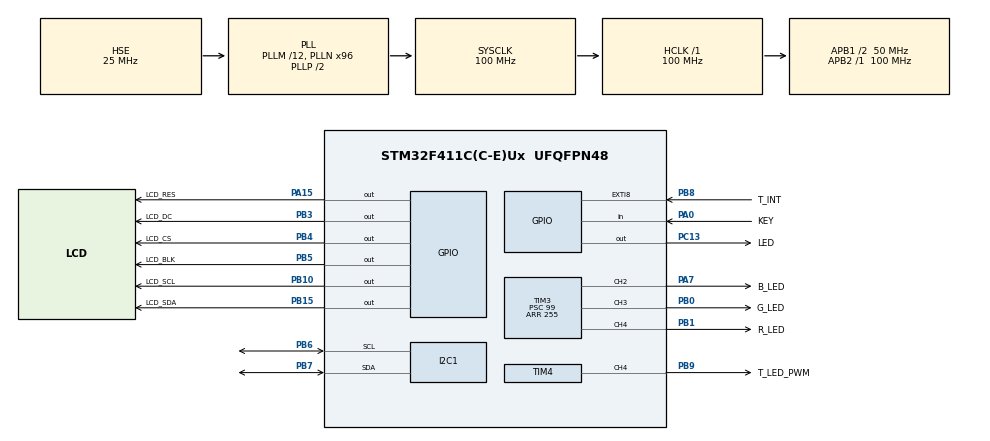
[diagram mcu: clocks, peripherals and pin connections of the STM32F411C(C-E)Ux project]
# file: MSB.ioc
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I2C1.I2C_Mode=I2C_Fast
Mcu.Family=STM32F4
Mcu.Name=STM32F411C(C-E)Ux
Mcu.Package=UFQFPN48
NVIC.EXTI9_5_IRQn=true\:0\:0\:false\:false\:true\:true\:true\:true
NVIC.PriorityGroup=NVIC_PRIORITYGROUP_4
NVIC.TIM2_IRQn=true\:0\:0\:false\:false\:true\:true\:true\:true
PA0-WKUP.GPIO_Label=KEY
PA0-WKUP.GPIO_PuPd=GPIO_PULLUP
PA0-WKUP.Signal=GPIO_Input
PA13.Mode=Serial_Wire
PA13.Signal=SYS_JTMS-SWDIO
PA14.Mode=Serial_Wire
PA14.Signal=SYS_JTCK-SWCLK
PA15.GPIO_Label=LCD_RES
PA15.GPIO_PuPd=GPIO_PULLDOWN
PA15.GPIO_Speed=GPIO_SPEED_FREQ_VERY_HIGH
PA15.Signal=GPIO_Output
PA7.GPIO_Label=B_LED
PA7.GPIO_Speed=GPIO_SPEED_FREQ_VERY_HIGH
PA7.Signal=S_TIM3_CH2
PB0.GPIO_Label=G_LED
PB0.GPIO_Speed=GPIO_SPEED_FREQ_VERY_HIGH
PB0.Signal=S_TIM3_CH3
PB1.GPIO_Label=R_LED
PB1.GPIO_Speed=GPIO_SPEED_FREQ_VERY_HIGH
PB1.Signal=S_TIM3_CH4
PB10.GPIO_Label=LCD_SCL
PB10.GPIO_PuPd=GPIO_PULLDOWN
PB10.GPIO_Speed=GPIO_SPEED_FREQ_VERY_HIGH
PB10.Signal=GPIO_Output
PB15.GPIO_Label=LCD_SDA
PB15.GPIO_PuPd=GPIO_PULLDOWN
PB15.GPIO_Speed=GPIO_SPEED_FREQ_VERY_HIGH
PB15.Signal=GPIO_Output
PB3.GPIO_Label=LCD_DC
PB3.GPIO_PuPd=GPIO_PULLDOWN
PB3.GPIO_Speed=GPIO_SPEED_FREQ_VERY_HIGH
PB3.Signal=GPIO_Output
PB4.GPIO_Label=LCD_CS
PB4.GPIO_PuPd=GPIO_PULLDOWN
PB4.GPIO_Speed=GPIO_SPEED_FREQ_VERY_HIGH
PB4.Signal=GPIO_Output
PB5.GPIO_Label=LCD_BLK
PB5.GPIO_PuPd=GPIO_PULLDOWN
PB5.GPIO_Speed=GPIO_SPEED_FREQ_VERY_HIGH
PB5.Signal=GPIO_Output
PB6.Mode=I2C
PB6.Signal=I2C1_SCL
PB7.Mode=I2C
PB7.Signal=I2C1_SDA
PB8.GPIO_Label=T_INT
PB8.GPIO_ModeDefaultEXTI=GPIO_MODE_IT_FALLING
PB8.GPIO_PuPd=GPIO_PULLUP
PB8.Signal=GPXTI8
PB9.GPIO_Label=T_LED_PWM
PB9.GPIO_Speed=GPIO_SPEED_FREQ_VERY_HIGH
PB9.Signal=S_TIM4_CH4
PC13-ANTI_TAMP.GPIO_Label=LED
PC13-ANTI_TAMP.Signal=GPIO_Output
PH0\ -\ OSC_IN.Mode=HSE-External-Oscillator
PH0\ -\ OSC_IN.Signal=RCC_OSC_IN
PH1\ -\ OSC_OUT.Mode=HSE-External-Oscillator
PH1\ -\ OSC_OUT.Signal=RCC_OSC_OUT
ProjectManager.HeapSize=0x200
ProjectManager.StackSize=0x400
ProjectManager.TargetToolchain=MDK-ARM V5.32
RCC.48MHZClocksFreq_Value=50000000
RCC.AHBFreq_Value=100000000
RCC.APB1CLKDivider=RCC_HCLK_DIV2
RCC.APB1Freq_Value=50000000
RCC.APB1TimFreq_Value=100000000
RCC.APB2Freq_Value=100000000
RCC.APB2TimFreq_Value=100000000
RCC.CortexFreq_Value=100000000
RCC.HCLKFreq_Value=100000000
RCC.HSE_VALUE=25000000
RCC.HSI_VALUE=16000000
RCC.LSE_VALUE=32768
RCC.PLLM=12
RCC.PLLN=96
RCC.PLLSourceVirtual=RCC_PLLSOURCE_HSE
RCC.SYSCLKFreq_VALUE=100000000
RCC.SYSCLKSource=RCC_SYSCLKSOURCE_PLLCLK
RCC.VCOOutputFreq_Value=200000000
SH.S_TIM3_CH2.0=TIM3_CH2,PWM Generation2 CH2
SH.S_TIM3_CH3.0=TIM3_CH3,PWM Generation3 CH3
SH.S_TIM3_CH4.0=TIM3_CH4,PWM Generation4 CH4
SH.S_TIM4_CH4.0=TIM4_CH4,PWM Generation4 CH4
TIM2.Period=99
TIM2.Prescaler=99
TIM3.Channel-PWM\ Generation2\ CH2=TIM_CHANNEL_2
TIM3.Channel-PWM\ Generation3\ CH3=TIM_CHANNEL_3
TIM3.Channel-PWM\ Generation4\ CH4=TIM_CHANNEL_4
TIM3.Period=255
TIM3.Prescaler=99
TIM4.Channel-PWM\ Generation4\ CH4=TIM_CHANNEL_4
TIM4.Period=9
TIM4.Prescaler=99
VP_TIM2_VS_ClockSourceINT.Mode=Internal
board=custom

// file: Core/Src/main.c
/* USER CODE BEGIN Header */
/**
 ******************************************************************************
 * @file           : main.c
 * @brief          : Main program body
 ******************************************************************************
 * @attention
 *
 * Copyright (c) 2022 STMicroelectronics.
 * All rights reserved.
 *
 * This software is licensed under terms that can be found in the LICENSE file
 * in the root directory of this software component.
 * If no LICENSE file comes with this software, it is provided AS-IS.
 *
 ******************************************************************************
 */
/* USER CODE END Header */
#include "main.h"
#include "i2c.h"
#include "tim.h"
#include "gpio.h"

/* USER CODE BEGIN Includes */
#include "stdio.h"
#include "ST7735_096.c"
#include "TCS3472.c"
#include "math.h"
#include "pic.h"
#include "HUAJI.h"
#include "OK.h"
/* USER CODE END Includes */

void SystemClock_Config(void);

/* USER CODE BEGIN 0 */
//全局变量声明
uint32_t timcount = 0;
uint8_t mem[3000];
uint16_t mem_i = 0;
uint16_t remember_i = 0;

// rgb led灯pwm输出
void rgb(uint16_t r00, uint16_t g00, uint16_t b00)
{
  __HAL_TIM_SET_COMPARE(&htim3, TIM_CHANNEL_2, b00 * 0.8);
  __HAL_TIM_SET_COMPARE(&htim3, TIM_CHANNEL_3, g00 * 0.9);
  __HAL_TIM_SET_COMPARE(&htim3, TIM_CHANNEL_4, r00);
}

// 24bit rgb数据转16bit
uint16_t rgb16(uint8_t r00, uint8_t g00, uint8_t b00)
{
  r00 >>= 3;
  g00 >>= 2;
  b00 >>= 3;
  return ((r00 << 11) | (g00 << 5) | b00);
}

// TCS LED亮度pwm输出
void T_LED_OUTPUT(uint8_t T_LED_LEVEL)
{
  __HAL_TIM_SET_COMPARE(&htim4, TIM_CHANNEL_4, T_LED_LEVEL);
}

//记录
void MEM(uint8_t r, uint8_t g, uint8_t b)
{
  mem[mem_i] = r;
  mem[mem_i + 1] = g;
  mem[mem_i + 2] = b;
  mem_i += 3;
}

//单次手动测量
void color0()
{
  uint32_t color0r = 0, color0g = 0, color0b = 0, color0c = 0; //各通道颜色初始化
  float getcount;                                              //计时终数值
  timcount = 0;                                                //计时溢出计数归零，开始计时
  for (int i = 0; i <= 3; i++)
  {
    color0r += TCS34725_GetChannelData(TCS34725_RDATAL);
    color0g += TCS34725_GetChannelData(TCS34725_GDATAL);
    color0b += TCS34725_GetChannelData(TCS34725_BDATAL);
    color0c += TCS34725_GetChannelData(TCS34725_CDATAL);
  } //读取4次各通道数据并求平均
  color0r = color0r / 3.1;
  color0g = color0g / 4.85;
  color0b = color0b / 4;
  float color1r = color0r, color1g = color0g, color1b = color0b, i = 0;
  while (color1r >= 255 || color1g >= 255 || color1b >= 255)
  {
    color1r = color0r / i;
    color1g = color0g / i;
    color1b = color0b / i;
    i += 0.01;
  }
  color0b = color1b;
  color0r = color1r;
  color0g = color1g;
  getcount = (float)timcount / 10.0;                        //计算用时，每0.1ms溢出一次
  rgb(color0r, color0g, color0b);                           // rgb灯输出
  LCD_Fill(0, 0, 60, 80, rgb16(color0r, color0g, color0b)); // lcd屏输出开始
  LCD_Fill(60, 0, 160, 80, WHITE);
  char STR0[5];
  sprintf(STR0, "R=%d", color0r);
  LCD_ShowString(61, 0, STR0, BLACK, BLACK, 16, 1);
  sprintf(STR0, "G=%d", color0g);
  LCD_ShowString(61, 16, STR0, BLACK, BLACK, 16, 1);
  sprintf(STR0, "B=%d", color0b);
  LCD_ShowString(61, 32, STR0, BLACK, BLACK, 16, 1);
  sprintf(STR0, "C=%d", color0c / 4);
  LCD_ShowString(61, 48, STR0, BLACK, BLACK, 16, 1);
  char STR1[20];
  sprintf(STR1, "COST=%.1fms", getcount);
  LCD_ShowString(61, 64, STR1, BLACK, BLACK, 16, 1); // lcd屏输出结束
  MEM(color0r, color0g, color0b);
  if (abs(color0r - mem[remember_i - 3]) < 50 && abs(color0g - mem[remember_i - 2]) < 50 && abs(color0b - mem[remember_i - 1]) < 50 && fabs(color0r / color0g - mem[remember_i - 3] / mem[remember_i - 2]) < 0.1 && fabs(color0r / color0b - mem[remember_i - 3] / mem[remember_i - 1]) < 0.1)
  {
    LCD_Fill(0, 0, 60, 40, rgb16(mem[remember_i - 3], mem[remember_i - 2], mem[remember_i - 1]));
    LCD_ShowString(0, 8, "SAME!", rgb16(255 - mem[remember_i - 3], 255 - mem[remember_i - 2], 255 - mem[remember_i - 1]), BLACK, 24, 1);
    LCD_DrawLine(0, 40, 59, 40, BLACK);
    LCD_DrawLine(60, 0, 59, 80, BLACK);
    LCD_ShowPicture(100, 20, 60, 29, gImage_HUAJI);
  }
}

//自动单次测量（高亮度）
uint8_t color1()
{
  if (HAL_GPIO_ReadPin(KEY_GPIO_Port, KEY_Pin) == GPIO_PIN_RESET)
  {
    HAL_Delay(1);
    if (HAL_GPIO_ReadPin(KEY_GPIO_Port, KEY_Pin) == GPIO_PIN_RESET)
    {
      return 0;
    }
  }
  while (1)
  {
    if (TCS34725_GetChannelData(TCS34725_CDATAL) >= 350)
    {
      float getcount; //计时终数值
      timcount = 0;   //计时溢出计数归零，开始计时
      uint8_t i = 9;
      TCS34725_SetIntegrationTime(TCS34725_INTEGRATIONTIME_24MS);
      HAL_Delay(25);
      while (TCS34725_GetChannelData(TCS34725_CDATAL) >= 300 && i >= 1)
      {
        T_LED_OUTPUT(i);
        HAL_Delay(25);
        i--;
      }
      TCS34725_SetIntegrationTime(TCS34725_INTEGRATIONTIME_101MS);
      HAL_Delay(110);
      uint32_t color0r = 0, color0g = 0, color0b = 0, color0c = 0; //各通道数据
      for (int i = 0; i <= 3; i++)
      {
        color0r += TCS34725_GetChannelData(TCS34725_RDATAL);
        color0g += TCS34725_GetChannelData(TCS34725_GDATAL);
        color0b += TCS34725_GetChannelData(TCS34725_BDATAL);
        color0c += TCS34725_GetChannelData(TCS34725_CDATAL);
      } //读取4次各通道数据并求平均
      color0r = color0r / 2.4;
      color0g = color0g / 3.78;
      color0b = color0b / 3.15;                                              //调色
      float color1r = color0r, color1g = color0g, color1b = color0b, i1 = 0; // i1用于计数
      while (color1r >= 255 || color1g >= 255 || color1b >= 255)
      {
        color1r = color0r / i1;
        color1g = color0g / i1;
        color1b = color0b / i1;
        i1 += 0.01;
      } //防止溢出

      color0b = color1b;
      color0r = color1r;
      color0g = color1g;

      getcount = (float)timcount / 10.0;                        //计算用时，0.1ms溢出一次
      rgb(color0r, color0g, color0b);                           // rgb灯输出
      LCD_Fill(0, 0, 60, 80, rgb16(color0r, color0g, color0b)); // lcd屏输出开始
      LCD_Fill(60, 0, 160, 80, WHITE);
      char STR0[5];
      sprintf(STR0, "R=%d", color0r);
      LCD_ShowString(61, 0, STR0, BLACK, BLACK, 16, 1);
      sprintf(STR0, "G=%d", color0g);
      LCD_ShowString(61, 16, STR0, BLACK, BLACK, 16, 1);
      sprintf(STR0, "B=%d", color0b);
      LCD_ShowString(61, 32, STR0, BLACK, BLACK, 16, 1);
      sprintf(STR0, "C=%d", color0c / 4);
      LCD_ShowString(61, 48, STR0, BLACK, BLACK, 16, 1);
      char STR1[20];
      sprintf(STR1, "COST=%.1fms", getcount);
      LCD_ShowString(61, 64, STR1, BLACK, BLACK, 16, 1); // lcd屏输出
      MEM(color0r, color0g, color0b);
      T_LED_OUTPUT(9);
      if (abs(color0r - mem[remember_i - 3]) < 50 && abs(color0g - mem[remember_i - 2]) < 50 && abs(color0b - mem[remember_i - 1]) < 50 && fabs(color0r / color0g - mem[remember_i - 3] / mem[remember_i - 2]) < 0.1 && fabs(color0r / color0b - mem[remember_i - 3] / mem[remember_i - 1]) < 0.1)
      {
        LCD_Fill(0, 0, 60, 40, rgb16(mem[remember_i - 3], mem[remember_i - 2], mem[remember_i - 1]));
        LCD_ShowString(0, 8, "SAME!", rgb16(255 - mem[remember_i - 3], 255 - mem[remember_i - 2], 255 - mem[remember_i - 1]), BLACK, 24, 1);
        LCD_DrawLine(0, 40, 59, 40, BLACK);
        LCD_DrawLine(60, 0, 59, 80, BLACK);
        LCD_ShowPicture(100, 20, 60, 29, gImage_HUAJI);
      }
      while (TCS34725_GetChannelData(TCS34725_CDATAL) >= 300)
      {
        if (HAL_GPIO_ReadPin(KEY_GPIO_Port, KEY_Pin) == GPIO_PIN_RESET)
        {
          HAL_Delay(1);
          if (HAL_GPIO_ReadPin(KEY_GPIO_Port, KEY_Pin) == GPIO_PIN_RESET)
          {
            return 0;
          }
        }
      }
    }
    if (HAL_GPIO_ReadPin(KEY_GPIO_Port, KEY_Pin) == GPIO_PIN_RESET)
    {
      HAL_Delay(1);
      if (HAL_GPIO_ReadPin(KEY_GPIO_Port, KEY_Pin) == GPIO_PIN_RESET)
      {
        return 0;
      }
    }
  }
}

//显示历史
void HISTORY()
{
  if (HAL_GPIO_ReadPin(KEY_GPIO_Port, KEY_Pin) == GPIO_PIN_RESET)
  {
    HAL_Delay(1);
    if (HAL_GPIO_ReadPin(KEY_GPIO_Port, KEY_Pin) == GPIO_PIN_RESET)
    {
      return;
    }
  }
  uint16_t i = 0, pmax = ceil((double)mem_i / 18.0 - 0.01), p = 1;
  int16_t j = mem_i - 1;
  char rgbstr[13], rcdstr[15];
  sprintf(rcdstr, "%d", mem_i / 3);
  while (p <= pmax)
  {
    char pgstr[10];
    sprintf(pgstr, "%d/%d", p, pmax);
    LCD_Fill(0, 0, 160, 80, BLACK);
    LCD_ShowString(120, 5, rcdstr, WHITE, BLACK, 16, 1);
    LCD_ShowString(105, 25, "records", WHITE, BLACK, 16, 1);
    LCD_ShowString(115, 50, pgstr, WHITE, BLACK, 24, 1);
    while (i <= 17 && j >= 2)
    {
      sprintf(rgbstr, "(%3d,%3d,%3d)", mem[j - 2], mem[j - 1], mem[j]);
      LCD_ShowString(0, 16 * i / 3, rgbstr, rgb16(255 - mem[j - 2], 255 - mem[j - 1], 255 - mem[j]), rgb16(mem[j - 2], mem[j - 1], mem[j]), 16, 0);
      i += 3;
      j -= 3;
    }
    i = 0;
    p++;
    HAL_Delay(100);
    while (HAL_GPIO_ReadPin(KEY_GPIO_Port, KEY_Pin) == GPIO_PIN_SET)
      ;
  }
  HAL_Delay(500);
  while (HAL_GPIO_ReadPin(KEY_GPIO_Port, KEY_Pin) == GPIO_PIN_SET)
    HAL_Delay(1);
  while (HAL_GPIO_ReadPin(KEY_GPIO_Port, KEY_Pin) == GPIO_PIN_RESET)
    HAL_Delay(1);
}

//计时器计时中断
void HAL_TIM_PeriodElapsedCallback(TIM_HandleTypeDef *htim)
{
  timcount++;
}

//标记一种颜色
void mark()
{
  uint32_t color0r = 0, color0g = 0, color0b = 0, color0c = 0; //各通道颜色变量初始化
  float getcount;                                              //计时终数值
  timcount = 0;                                                //计时溢出计数归零，开始计时
  for (int i = 0; i <= 3; i++)
  {
    color0r += TCS34725_GetChannelData(TCS34725_RDATAL);
    color0g += TCS34725_GetChannelData(TCS34725_GDATAL);
    color0b += TCS34725_GetChannelData(TCS34725_BDATAL);
    color0c += TCS34725_GetChannelData(TCS34725_CDATAL);
  } //读取4次各通道数据并求平均
  color0r = color0r / 3.1;
  color0g = color0g / 4.85;
  color0b = color0b / 4;
  float color1r = color0r, color1g = color0g, color1b = color0b, i = 0;
  while (color1r >= 255 || color1g >= 255 || color1b >= 255)
  {
    color1r = color0r / i;
    color1g = color0g / i;
    color1b = color0b / i;
    i += 0.01;
  }
  color0b = color1b;
  color0r = color1r;
  color0g = color1g;
  getcount = (float)timcount / 10.0;
  MEM(color0r, color0g, color0b);
  remember_i = mem_i;
  LCD_Fill(0, 0, 160, 80, WHITE);
  LCD_Fill(0, 0, 60, 80, rgb16(mem[mem_i - 3], mem[mem_i - 2], mem[mem_i - 1]));
  LCD_ShowString(61, 0, "MARKED", BLACK, BLACK, 16, 1);
  char STR0[5];
  sprintf(STR0, "R=%d", color0r);
  LCD_ShowString(61, 16, STR0, BLACK, BLACK, 16, 1);
  sprintf(STR0, "G=%d", color0g);
  LCD_ShowString(61, 32, STR0, BLACK, BLACK, 16, 1);
  sprintf(STR0, "B=%d", color0b);
  LCD_ShowString(61, 48, STR0, BLACK, BLACK, 16, 1);
  char STR1[20];
  sprintf(STR1, "%.1fms", getcount);
  LCD_ShowString(61, 64, STR1, BLACK, BLACK, 16, 1); // lcd屏输出
  LCD_ShowPicture(102, 16, 58, 58, gImage_OK);
  HAL_Delay(500);
  while (HAL_GPIO_ReadPin(KEY_GPIO_Port, KEY_Pin) == GPIO_PIN_RESET)
    HAL_Delay(1);
  while (HAL_GPIO_ReadPin(KEY_GPIO_Port, KEY_Pin) == GPIO_PIN_SET)
    HAL_Delay(1);
  while (HAL_GPIO_ReadPin(KEY_GPIO_Port, KEY_Pin) == GPIO_PIN_RESET)
    HAL_Delay(1);
}

/* USER CODE END 0 */

int main(void)
{

  /* MCU Configuration--------------------------------------------------------*/

  /* Reset of all peripherals, Initializes the Flash interface and the Systick. */
  HAL_Init();

  /* Configure the system clock */
  SystemClock_Config();

  /* Initialize all configured peripherals */
  MX_GPIO_Init();
  MX_I2C1_Init();
  MX_TIM3_Init();
  MX_TIM4_Init();
  MX_TIM2_Init();
  /* USER CODE BEGIN 2 */

  // INIT_START
  HAL_TIM_Base_Start_IT(&htim2);
  //  pwm
  HAL_TIM_PWM_Start(&htim3, TIM_CHANNEL_2); // b LED pwm START
  HAL_TIM_PWM_Start(&htim3, TIM_CHANNEL_3); // g LED pwm START
  HAL_TIM_PWM_Start(&htim3, TIM_CHANNEL_4); // r LED pwm START
  HAL_TIM_PWM_Start(&htim4, TIM_CHANNEL_4); // TCS_LED pwm START

  // lcd初始化
  HAL_GPIO_WritePin(LED_GPIO_Port, LED_Pin, GPIO_PIN_RESET);
  HAL_GPIO_WritePin(LCD_CS_GPIO_Port, LCD_CS_Pin, GPIO_PIN_RESET);
  HAL_GPIO_WritePin(LCD_BLK_GPIO_Port, LCD_BLK_Pin, GPIO_PIN_SET);
  LCD_Init();

  // rgb测试
  rgb(0, 0, 0);
  HAL_GPIO_TogglePin(LED_GPIO_Port, LED_Pin);
  HAL_Delay(50);
  rgb(255, 0, 0);
  HAL_GPIO_TogglePin(LED_GPIO_Port, LED_Pin);
  HAL_Delay(50);
  rgb(0, 255, 0);
  HAL_GPIO_TogglePin(LED_GPIO_Port, LED_Pin);
  HAL_Delay(50);
  rgb(0, 0, 255);
  HAL_GPIO_TogglePin(LED_GPIO_Port, LED_Pin);
  HAL_Delay(50);
  if (TCS34725_Init() == 0)
  {
    rgb(255, 0, 0);
    LCD_Fill(0, 0, 160, 80, RED);
    LCD_ShowString(40, 16, "E TCS", BLACK, WHITE, 32, 1);
    while (1)
      ;
  }
  for (int i = 0; i <= 9; i++)
    T_LED_OUTPUT(i);

  rgb(0, 0, 0);
  T_LED_OUTPUT(9);

  LCD_Fill(0, 0, 160, 80, WHITE);
  LCD_ShowPicture(40, 0, 80, 80, gImage_pic); //初始化结束

  /* USER CODE END 2 */

  /* Infinite loop */
  /* USER CODE BEGIN WHILE */
  while (1)
  {
    if (timcount >= 10000000)
      timcount = 0;
    if (HAL_GPIO_ReadPin(KEY_GPIO_Port, KEY_Pin) == GPIO_PIN_RESET)
    {
      HAL_Delay(1);
      if (HAL_GPIO_ReadPin(KEY_GPIO_Port, KEY_Pin) == GPIO_PIN_RESET)
      {
        color0();
        HAL_Delay(500);
        if (HAL_GPIO_ReadPin(KEY_GPIO_Port, KEY_Pin) == GPIO_PIN_RESET)
        {
          HAL_Delay(1);
          if (HAL_GPIO_ReadPin(KEY_GPIO_Port, KEY_Pin) == GPIO_PIN_RESET)
          {
            LCD_Fill(0, 0, 160, 80, LIGHTBLUE);
            LCD_ShowString(45, 24, "AUTO", WHITE, WHITE, 32, 1);
            HAL_Delay(500);
            color1();
            HAL_Delay(500);
            if (HAL_GPIO_ReadPin(KEY_GPIO_Port, KEY_Pin) == GPIO_PIN_RESET)
            {
              HAL_Delay(1);
              if (HAL_GPIO_ReadPin(KEY_GPIO_Port, KEY_Pin) == GPIO_PIN_RESET)
              {
                LCD_Fill(0, 0, 160, 80, LIGHTBLUE);
                LCD_ShowString(25, 24, "HISTORY", WHITE, WHITE, 32, 1);
                HAL_Delay(500);
                HISTORY();
                HAL_Delay(500);
                if (HAL_GPIO_ReadPin(KEY_GPIO_Port, KEY_Pin) == GPIO_PIN_RESET)
                {
                  HAL_Delay(1);
                  if (HAL_GPIO_ReadPin(KEY_GPIO_Port, KEY_Pin) == GPIO_PIN_RESET)
                  {
                    LCD_Fill(0, 0, 160, 80, LIGHTBLUE);
                    LCD_ShowString(45, 24, "MARK", WHITE, WHITE, 32, 1);
                    HAL_Delay(500);
                    mark();
                    LCD_Fill(0, 0, 160, 80, LIGHTBLUE);
                    LCD_ShowString(30, 24, "MANUAL", WHITE, WHITE, 32, 1);
                  }
                }
                LCD_Fill(0, 0, 160, 80, LIGHTBLUE);
                LCD_ShowString(30, 24, "MANUAL", WHITE, WHITE, 32, 1);
              }
            }
            LCD_Fill(0, 0, 160, 80, LIGHTBLUE);
            LCD_ShowString(30, 24, "MANUAL", WHITE, WHITE, 32, 1);
          }
        }
      }
    }
    /* USER CODE END WHILE */

  }
}

void SystemClock_Config(void)
{
  RCC_OscInitTypeDef RCC_OscInitStruct = {0};
  RCC_ClkInitTypeDef RCC_ClkInitStruct = {0};

  /** Configure the main internal regulator output voltage
   */
  __HAL_RCC_PWR_CLK_ENABLE();
  __HAL_PWR_VOLTAGESCALING_CONFIG(PWR_REGULATOR_VOLTAGE_SCALE1);

  /** Initializes the RCC Oscillators according to the specified parameters
   * in the RCC_OscInitTypeDef structure.
   */
  RCC_OscInitStruct.OscillatorType = RCC_OSCILLATORTYPE_HSE;
  RCC_OscInitStruct.HSEState = RCC_HSE_ON;
  RCC_OscInitStruct.PLL.PLLState = RCC_PLL_ON;
  RCC_OscInitStruct.PLL.PLLSource = RCC_PLLSOURCE_HSE;
  RCC_OscInitStruct.PLL.PLLM = 12;
  RCC_OscInitStruct.PLL.PLLN = 96;
  RCC_OscInitStruct.PLL.PLLP = RCC_PLLP_DIV2;
  RCC_OscInitStruct.PLL.PLLQ = 4;
  if (HAL_RCC_OscConfig(&RCC_OscInitStruct) != HAL_OK)
  {
    Error_Handler();
  }

  /** Initializes the CPU, AHB and APB buses clocks
   */
  RCC_ClkInitStruct.ClockType = RCC_CLOCKTYPE_HCLK | RCC_CLOCKTYPE_SYSCLK | RCC_CLOCKTYPE_PCLK1 | RCC_CLOCKTYPE_PCLK2;
  RCC_ClkInitStruct.SYSCLKSource = RCC_SYSCLKSOURCE_PLLCLK;
  RCC_ClkInitStruct.AHBCLKDivider = RCC_SYSCLK_DIV1;
  RCC_ClkInitStruct.APB1CLKDivider = RCC_HCLK_DIV2;
  RCC_ClkInitStruct.APB2CLKDivider = RCC_HCLK_DIV1;

  if (HAL_RCC_ClockConfig(&RCC_ClkInitStruct, FLASH_LATENCY_3) != HAL_OK)
  {
    Error_Handler();
  }
}

void Error_Handler(void)
{
  __disable_irq();
  while (1)
  {
  }
}
